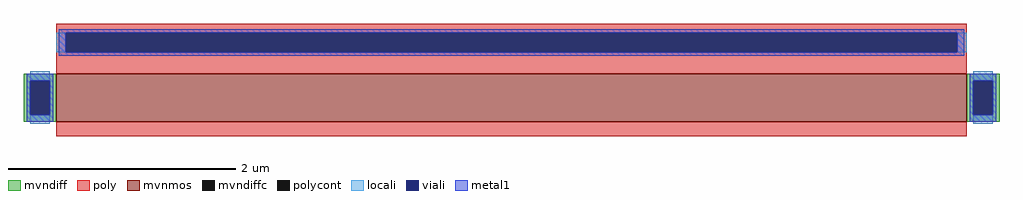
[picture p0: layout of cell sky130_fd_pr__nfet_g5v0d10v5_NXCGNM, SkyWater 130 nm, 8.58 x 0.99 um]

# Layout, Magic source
magic
tech sky130A
magscale 1 2
<< mvnmos >>
rect -800 -73 800 11
<< mvndiff >>
rect -858 -1 -800 11
rect -858 -61 -846 -1
rect -812 -61 -800 -1
rect -858 -73 -800 -61
rect 800 -1 858 11
rect 800 -61 812 -1
rect 846 -61 858 -1
rect 800 -73 858 -61
<< mvndiffc >>
rect -846 -61 -812 -1
rect 812 -61 846 -1
<< poly >>
rect -800 83 800 99
rect -800 49 -784 83
rect 784 49 800 83
rect -800 11 800 49
rect -800 -99 800 -73
<< polycont >>
rect -784 49 784 83
<< locali >>
rect -800 49 -784 83
rect 784 49 800 83
rect -846 -1 -812 15
rect -846 -77 -812 -61
rect 812 -1 846 15
rect 812 -77 846 -61
<< viali >>
rect -784 49 784 83
rect -846 -61 -812 -1
rect 812 -61 846 -1
<< metal1 >>
rect -796 83 796 89
rect -796 49 -784 83
rect 784 49 796 83
rect -796 43 796 49
rect -852 -1 -806 11
rect -852 -61 -846 -1
rect -812 -61 -806 -1
rect -852 -73 -806 -61
rect 806 -1 852 11
rect 806 -61 812 -1
rect 846 -61 852 -1
rect 806 -73 852 -61
<< properties >>
string gencell sky130_fd_pr__nfet_g5v0d10v5
string library sky130
string parameters w 0.42 l 8.0 m 1 nf 1 diffcov 100 polycov 100 guard 0 glc 1 grc 1 gtc 1 gbc 1 tbcov 100 rlcov 100 topc 1 botc 0 poverlap 0 doverlap 0 lmin 0.50 wmin 0.42 compatible {sky130_fd_pr__nfet_01v8 sky130_fd_pr__nfet_01v8_lvt  sky130_fd_bs_flash__special_sonosfet_star  sky130_fd_pr__nfet_g5v0d10v5 sky130_fd_pr__nfet_05v0_nvt  sky130_fd_pr__nfet_03v3_nvt} full_metal 1 viasrc 100 viadrn 100 viagate 100 viagb 0 viagr 0 viagl 0 viagt 0
<< end >>
